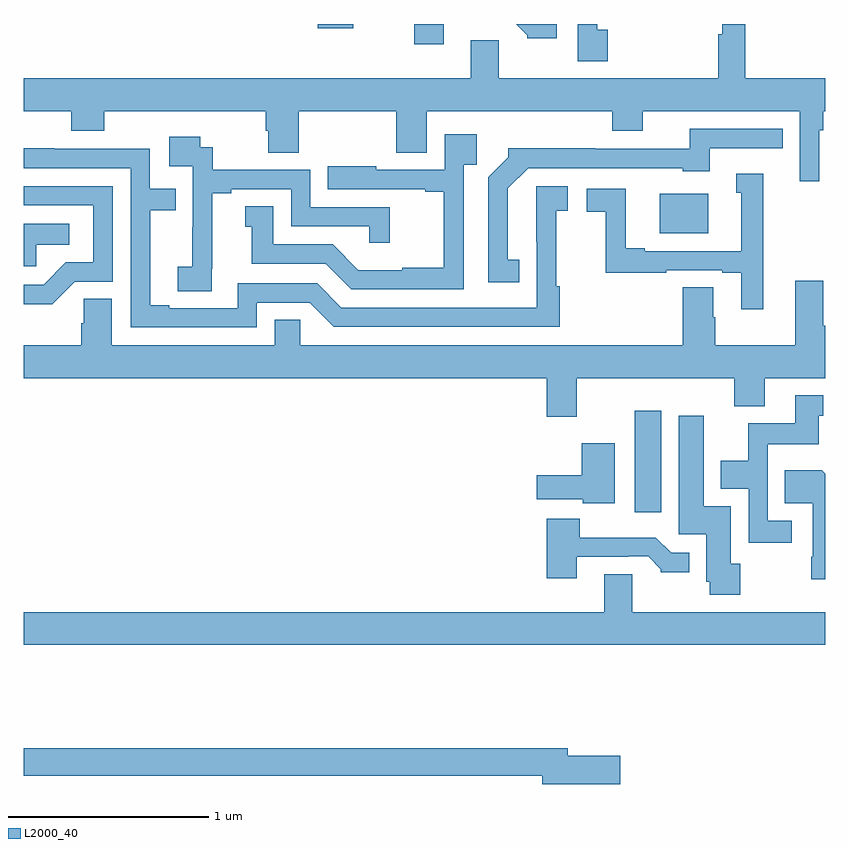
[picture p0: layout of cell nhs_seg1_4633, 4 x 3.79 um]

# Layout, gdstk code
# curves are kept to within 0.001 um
import gdstk
lib = gdstk.Library(unit=1e-6, precision=1e-09)
def R(c, l, rs):  # rectangles x0, y0, x1, y1
    for r in rs: c.add(gdstk.rectangle(r[:2], r[2:], *l))
def P(c, l, *ps):  # polygons
    for p in ps: c.add(gdstk.Polygon(p, *l))
L2000_40 = (2000, 40)

nhs_seg1_4633 = lib.new_cell('nhs_seg1_4633')
R(nhs_seg1_4633, L2000_40, [(366.05,517.761,366.181,518.269), (366.173,519.155,366.415,519.352), (364.948,520.097,365.095,520.199), (364.466,520.179,364.644,520.199)])
P(nhs_seg1_4633, L2000_40, [(365.915,520.17),(365.862,520.17),(365.862,520.199),(365.766,520.199),(365.766,520.014),(365.915,520.014)],
  [(365.659,520.199),(365.457,520.199),(365.514,520.142),(365.514,520.127),(365.659,520.127)],
  [(366.97,519.668),(366.989,519.668),(366.989,519.764),(367,519.764),(367,519.928),(366.602,519.928),(366.602,520.199),(366.486,520.199),(366.486,520.148),(366.466,520.148),(366.466,519.928),(365.371,519.928),(365.371,520.118),(365.231,520.118),(365.231,519.928),(363,519.928),(363,519.764),(363.236,519.764),(363.236,519.665),(363.401,519.665),(363.401,519.764),(364.208,519.764),(364.208,519.666),(364.22,519.666),(364.22,519.556),(364.373,519.556),(364.373,519.764),(364.859,519.764),(364.859,519.556),(365.011,519.556),(365.011,519.764),(365.936,519.764),(365.936,519.665),(366.088,519.665),(366.088,519.764),(366.873,519.764),(366.873,519.414),(366.97,519.414)],
  [(365.474,519.023),(365.416,519.023),(365.416,519.379),(365.517,519.48),(366.288,519.48),(366.288,519.464),(366.424,519.464),(366.424,519.579),(366.788,519.579),(366.788,519.675),(366.325,519.675),(366.325,519.576),(365.852,519.576),(365.852,519.578),(365.418,519.578),(365.418,519.533),(365.319,519.434),(365.319,518.91),(365.474,518.91)],
  [(365.196,519.497),(365.261,519.497),(365.261,519.649),(365.1,519.649),(365.1,519.471),(364.759,519.471),(364.759,519.49),(364.516,519.49),(364.516,519.375),(365.003,519.375),(365.003,519.363),(365.095,519.363),(365.095,518.983),(364.889,518.983),(364.889,518.971),(364.67,518.971),(364.542,519.099),(364.246,519.099),(364.246,519.29),(364.106,519.29),(364.106,519.187),(364.139,519.187),(364.139,519.003),(364.506,519.003),(364.635,518.874),(365.196,518.874)],
  [(363.938,518.977),(363.94,518.977),(363.94,519.355),(364.036,519.355),(364.036,519.375),(364.335,519.375),(364.335,519.189),(364.725,519.189),(364.725,519.108),(364.826,519.108),(364.826,519.285),(364.431,519.285),(364.431,519.471),(363.944,519.471),(363.944,519.585),(363.882,519.585),(363.882,519.637),(363.726,519.637),(363.726,519.489),(363.843,519.489),(363.843,519.185),(363.842,519.185),(363.842,518.988),(363.768,518.988),(363.768,518.866),(363.938,518.866)],
  [(364.164,518.808),(364.428,518.808),(364.548,518.688),(365.675,518.688),(365.675,518.891),(365.658,518.891),(365.658,519.267),(365.716,519.267),(365.716,519.388),(365.558,519.388),(365.559,518.784),(364.584,518.784),(364.464,518.904),(364.068,518.904),(364.068,518.781),(363.727,518.781),(363.727,518.796),(363.631,518.796),(363.631,519.27),(363.758,519.27),(363.758,519.378),(363.63,519.378),(363.63,519.576),(363.152,519.576),(363.152,519.578),(363,519.578),(363,519.48),(363.534,519.48),(363.534,518.685),(364.164,518.685)],
  [(366.691,519.451),(366.557,519.451),(366.557,519.357),(366.581,519.357),(366.581,519.066),(366.1,519.066),(366.1,519.079),(366.004,519.079),(366.004,519.378),(365.811,519.378),(365.811,519.262),(365.905,519.262),(365.905,518.958),(366.206,518.958),(366.206,518.97),(366.485,518.97),(366.485,518.958),(366.581,518.958),(366.581,518.775),(366.691,518.775)],
  [(363.255,518.913),(363.444,518.913),(363.444,519.39),(363,519.39),(363,519.294),(363.348,519.294),(363.348,519.009),(363.21,519.009),(363.099,518.898),(363,518.898),(363,518.801),(363.142,518.801)],
  [(363.063,519.098),(363.226,519.098),(363.226,519.202),(363,519.202),(363,518.991),(363.063,518.991)],
  [(365.761,518.432),(366.545,518.432),(366.545,518.291),(366.697,518.291),(366.697,518.432),(367,518.432),(367,518.692),(366.991,518.692),(366.991,518.917),(366.851,518.917),(366.851,518.596),(366.45,518.596),(366.45,518.735),(366.442,518.735),(366.442,518.885),(366.29,518.885),(366.29,518.596),(364.38,518.596),(364.38,518.723),(364.253,518.723),(364.253,518.596),(363.439,518.596),(363.439,518.828),(363.3,518.828),(363.3,518.705),(363.287,518.705),(363.287,518.596),(363,518.596),(363,518.432),(365.609,518.432),(365.609,518.238),(365.761,518.238)],
  [(366.832,517.719),(366.714,517.719),(366.714,518.102),(366.967,518.102),(366.967,518.244),(366.991,518.244),(366.991,518.347),(366.851,518.347),(366.851,518.206),(366.616,518.206),(366.616,518.02),(366.479,518.02),(366.479,517.88),(366.618,517.88),(366.618,517.611),(366.832,517.611)],
  [(366.576,517.506),(366.529,517.506),(366.529,517.792),(366.394,517.792),(366.394,518.245),(366.269,518.245),(366.269,517.653),(366.407,517.653),(366.407,517.416),(366.424,517.416),(366.424,517.35),(366.576,517.35)],
  [(365.95,518.107),(365.786,518.107),(365.786,517.948),(365.559,517.948),(365.559,517.826),(365.79,517.826),(365.79,517.808),(365.95,517.808)],
  [(367,517.954),(366.982,517.972),(366.799,517.972),(366.799,517.808),(366.938,517.808),(366.938,517.54),(366.931,517.54),(366.931,517.428),(367,517.428)],
  [(365.761,517.539),(366.017,517.539),(366.017,517.542),(366.116,517.542),(366.18,517.478),(366.18,517.463),(366.322,517.463),(366.322,517.56),(366.231,517.56),(366.155,517.636),(365.774,517.636),(365.774,517.729),(365.609,517.729),(365.609,517.434),(365.761,517.434)],
  [(367,517.264),(366.037,517.264),(366.037,517.454),(365.897,517.454),(365.897,517.264),(363,517.264),(363,517.1),(367,517.1)],
  [(365.977,516.548),(365.716,516.548),(365.716,516.584),(363,516.584),(363,516.448),(365.588,516.448),(365.588,516.406),(365.977,516.406)])

lib.write_gds('nhs_seg1_4633.gds')
